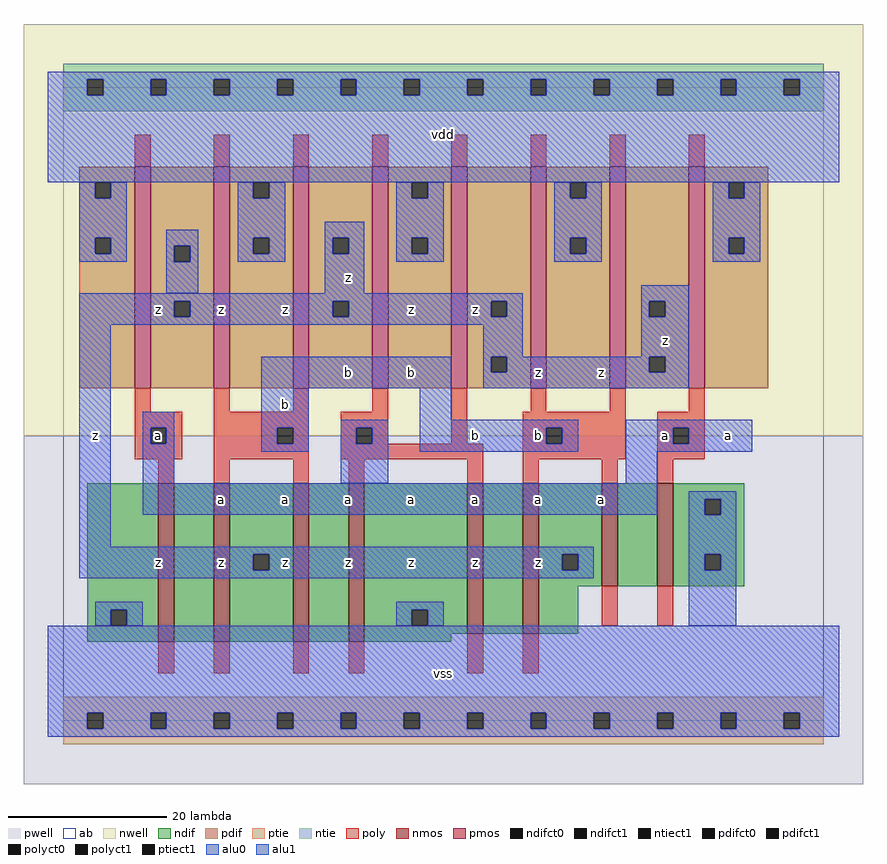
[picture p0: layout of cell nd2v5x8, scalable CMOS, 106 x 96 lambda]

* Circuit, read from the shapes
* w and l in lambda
.subckt nd2v5x8 a b vdd vss z
M1 n1 a vss vss nfet w=20 l=2
M2 z b n1 vss nfet w=20 l=2
M3 n2 b z vss nfet w=20 l=2
M4 vss a n2 vss nfet w=20 l=2
M5 n3 a vss vss nfet w=19 l=2
M6 z b n3 vss nfet w=19 l=2
M7 n4 b z vss nfet w=13 l=2
M8 vss a n4 vss nfet w=13 l=2
M9 z a vdd vdd pfet w=28 l=2 m=4
M10 vdd b z vdd pfet w=28 l=2 m=4
.ends

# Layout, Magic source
magic
tech scmos
<< ab >>
rect 0 0 96 80
<< nwell >>
rect -5 36 101 88
<< pwell >>
rect -5 -8 101 36
<< poly >>
rect 9 70 11 74
rect 19 70 21 74
rect 29 70 31 74
rect 39 70 41 74
rect 49 70 51 74
rect 59 70 61 74
rect 69 70 71 74
rect 79 70 81 74
rect 9 39 11 42
rect 19 39 21 42
rect 29 39 31 42
rect 39 39 41 42
rect 9 37 15 39
rect 9 35 11 37
rect 13 35 15 37
rect 9 33 15 35
rect 19 37 31 39
rect 19 35 27 37
rect 29 35 31 37
rect 19 33 31 35
rect 35 37 41 39
rect 35 35 37 37
rect 39 35 41 37
rect 49 35 51 42
rect 59 39 61 42
rect 69 39 71 42
rect 79 39 81 42
rect 58 37 71 39
rect 58 35 61 37
rect 63 35 71 37
rect 35 33 53 35
rect 12 30 14 33
rect 19 30 21 33
rect 29 30 31 33
rect 36 30 38 33
rect 51 30 53 33
rect 58 33 71 35
rect 75 37 81 39
rect 75 35 77 37
rect 79 35 81 37
rect 75 33 81 35
rect 58 30 60 33
rect 68 30 70 33
rect 75 30 77 33
rect 68 12 70 17
rect 75 12 77 17
rect 12 6 14 10
rect 19 6 21 10
rect 29 6 31 10
rect 36 6 38 10
rect 51 6 53 11
rect 58 6 60 11
<< ndif >>
rect 3 14 12 30
rect 3 12 6 14
rect 8 12 12 14
rect 3 10 12 12
rect 14 10 19 30
rect 21 21 29 30
rect 21 19 24 21
rect 26 19 29 21
rect 21 10 29 19
rect 31 10 36 30
rect 38 14 51 30
rect 38 12 44 14
rect 46 12 51 14
rect 38 11 51 12
rect 53 11 58 30
rect 60 21 68 30
rect 60 19 63 21
rect 65 19 68 21
rect 60 17 68 19
rect 70 17 75 30
rect 77 28 86 30
rect 77 26 81 28
rect 83 26 86 28
rect 77 21 86 26
rect 77 19 81 21
rect 83 19 86 21
rect 77 17 86 19
rect 60 11 65 17
rect 38 10 49 11
<< pdif >>
rect 2 68 9 70
rect 2 66 4 68
rect 6 66 9 68
rect 2 61 9 66
rect 2 59 4 61
rect 6 59 9 61
rect 2 42 9 59
rect 11 60 19 70
rect 11 58 14 60
rect 16 58 19 60
rect 11 53 19 58
rect 11 51 14 53
rect 16 51 19 53
rect 11 42 19 51
rect 21 68 29 70
rect 21 66 24 68
rect 26 66 29 68
rect 21 61 29 66
rect 21 59 24 61
rect 26 59 29 61
rect 21 42 29 59
rect 31 61 39 70
rect 31 59 34 61
rect 36 59 39 61
rect 31 53 39 59
rect 31 51 34 53
rect 36 51 39 53
rect 31 42 39 51
rect 41 68 49 70
rect 41 66 44 68
rect 46 66 49 68
rect 41 61 49 66
rect 41 59 44 61
rect 46 59 49 61
rect 41 42 49 59
rect 51 53 59 70
rect 51 51 54 53
rect 56 51 59 53
rect 51 46 59 51
rect 51 44 54 46
rect 56 44 59 46
rect 51 42 59 44
rect 61 68 69 70
rect 61 66 64 68
rect 66 66 69 68
rect 61 61 69 66
rect 61 59 64 61
rect 66 59 69 61
rect 61 42 69 59
rect 71 53 79 70
rect 71 51 74 53
rect 76 51 79 53
rect 71 46 79 51
rect 71 44 74 46
rect 76 44 79 46
rect 71 42 79 44
rect 81 68 89 70
rect 81 66 84 68
rect 86 66 89 68
rect 81 61 89 66
rect 81 59 84 61
rect 86 59 89 61
rect 81 42 89 59
<< alu1 >>
rect -2 81 98 82
rect -2 79 3 81
rect 5 79 11 81
rect 13 79 19 81
rect 21 79 27 81
rect 29 79 35 81
rect 37 79 43 81
rect 45 79 51 81
rect 53 79 59 81
rect 61 79 67 81
rect 69 79 75 81
rect 77 79 83 81
rect 85 79 91 81
rect 93 79 98 81
rect -2 68 98 79
rect 33 61 38 63
rect 33 59 34 61
rect 36 59 38 61
rect 33 54 38 59
rect 2 53 58 54
rect 2 51 14 53
rect 16 51 34 53
rect 36 51 54 53
rect 56 51 58 53
rect 2 50 58 51
rect 2 22 6 50
rect 53 46 58 50
rect 73 53 79 55
rect 73 51 74 53
rect 76 51 79 53
rect 73 46 79 51
rect 25 42 49 46
rect 53 44 54 46
rect 56 44 74 46
rect 76 44 79 46
rect 53 42 79 44
rect 10 37 14 39
rect 10 35 11 37
rect 13 35 14 37
rect 10 30 14 35
rect 25 37 31 42
rect 45 38 49 42
rect 25 35 27 37
rect 29 35 31 37
rect 25 34 31 35
rect 45 37 65 38
rect 45 35 61 37
rect 63 35 65 37
rect 45 34 65 35
rect 71 37 87 38
rect 71 35 77 37
rect 79 35 87 37
rect 71 34 87 35
rect 71 30 75 34
rect 10 26 75 30
rect 2 21 67 22
rect 2 19 24 21
rect 26 19 63 21
rect 65 19 67 21
rect 2 18 67 19
rect -2 1 98 12
rect -2 -1 3 1
rect 5 -1 11 1
rect 13 -1 19 1
rect 21 -1 27 1
rect 29 -1 35 1
rect 37 -1 43 1
rect 45 -1 51 1
rect 53 -1 59 1
rect 61 -1 67 1
rect 69 -1 75 1
rect 77 -1 83 1
rect 85 -1 91 1
rect 93 -1 98 1
rect -2 -2 98 -1
<< ptie >>
rect 0 1 96 3
rect 0 -1 3 1
rect 5 -1 11 1
rect 13 -1 19 1
rect 21 -1 27 1
rect 29 -1 35 1
rect 37 -1 43 1
rect 45 -1 51 1
rect 53 -1 59 1
rect 61 -1 67 1
rect 69 -1 75 1
rect 77 -1 83 1
rect 85 -1 91 1
rect 93 -1 96 1
rect 0 -3 96 -1
<< ntie >>
rect 0 81 96 83
rect 0 79 3 81
rect 5 79 11 81
rect 13 79 19 81
rect 21 79 27 81
rect 29 79 35 81
rect 37 79 43 81
rect 45 79 51 81
rect 53 79 59 81
rect 61 79 67 81
rect 69 79 75 81
rect 77 79 83 81
rect 85 79 91 81
rect 93 79 96 81
rect 0 77 96 79
<< nmos >>
rect 12 10 14 30
rect 19 10 21 30
rect 29 10 31 30
rect 36 10 38 30
rect 51 11 53 30
rect 58 11 60 30
rect 68 17 70 30
rect 75 17 77 30
<< pmos >>
rect 9 42 11 70
rect 19 42 21 70
rect 29 42 31 70
rect 39 42 41 70
rect 49 42 51 70
rect 59 42 61 70
rect 69 42 71 70
rect 79 42 81 70
<< polyct0 >>
rect 37 35 39 37
<< polyct1 >>
rect 11 35 13 37
rect 27 35 29 37
rect 61 35 63 37
rect 77 35 79 37
<< ndifct0 >>
rect 6 12 8 14
rect 44 12 46 14
rect 81 26 83 28
rect 81 19 83 21
<< ndifct1 >>
rect 24 19 26 21
rect 63 19 65 21
<< ntiect1 >>
rect 3 79 5 81
rect 11 79 13 81
rect 19 79 21 81
rect 27 79 29 81
rect 35 79 37 81
rect 43 79 45 81
rect 51 79 53 81
rect 59 79 61 81
rect 67 79 69 81
rect 75 79 77 81
rect 83 79 85 81
rect 91 79 93 81
<< ptiect1 >>
rect 3 -1 5 1
rect 11 -1 13 1
rect 19 -1 21 1
rect 27 -1 29 1
rect 35 -1 37 1
rect 43 -1 45 1
rect 51 -1 53 1
rect 59 -1 61 1
rect 67 -1 69 1
rect 75 -1 77 1
rect 83 -1 85 1
rect 91 -1 93 1
<< pdifct0 >>
rect 4 66 6 68
rect 4 59 6 61
rect 14 58 16 60
rect 24 66 26 68
rect 24 59 26 61
rect 44 66 46 68
rect 44 59 46 61
rect 64 66 66 68
rect 64 59 66 61
rect 84 66 86 68
rect 84 59 86 61
<< pdifct1 >>
rect 14 51 16 53
rect 34 59 36 61
rect 34 51 36 53
rect 54 51 56 53
rect 54 44 56 46
rect 74 51 76 53
rect 74 44 76 46
<< alu0 >>
rect 2 66 4 68
rect 6 66 8 68
rect 2 61 8 66
rect 22 66 24 68
rect 26 66 28 68
rect 2 59 4 61
rect 6 59 8 61
rect 2 58 8 59
rect 13 60 17 62
rect 13 58 14 60
rect 16 58 17 60
rect 22 61 28 66
rect 42 66 44 68
rect 46 66 48 68
rect 22 59 24 61
rect 26 59 28 61
rect 22 58 28 59
rect 13 54 17 58
rect 42 61 48 66
rect 42 59 44 61
rect 46 59 48 61
rect 42 58 48 59
rect 62 66 64 68
rect 66 66 68 68
rect 62 61 68 66
rect 62 59 64 61
rect 66 59 68 61
rect 62 58 68 59
rect 82 66 84 68
rect 86 66 88 68
rect 82 61 88 66
rect 82 59 84 61
rect 86 59 88 61
rect 82 58 88 59
rect 35 37 41 38
rect 35 35 37 37
rect 39 35 41 37
rect 35 30 41 35
rect 79 28 85 29
rect 79 26 81 28
rect 83 26 85 28
rect 79 21 85 26
rect 79 19 81 21
rect 83 19 85 21
rect 4 14 10 15
rect 4 12 6 14
rect 8 12 10 14
rect 42 14 48 15
rect 42 12 44 14
rect 46 12 48 14
rect 79 12 85 19
<< labels >>
rlabel alu1 12 20 12 20 6 z
rlabel polyct1 12 36 12 36 6 a
rlabel alu1 4 36 4 36 6 z
rlabel alu1 12 52 12 52 6 z
rlabel alu1 20 28 20 28 6 a
rlabel alu1 20 20 20 20 6 z
rlabel alu1 28 28 28 28 6 a
rlabel alu1 28 20 28 20 6 z
rlabel alu1 28 40 28 40 6 b
rlabel alu1 28 52 28 52 6 z
rlabel alu1 20 52 20 52 6 z
rlabel alu1 48 6 48 6 6 vss
rlabel alu1 36 28 36 28 6 a
rlabel alu1 36 20 36 20 6 z
rlabel alu1 52 28 52 28 6 a
rlabel alu1 52 20 52 20 6 z
rlabel alu1 44 28 44 28 6 a
rlabel alu1 44 20 44 20 6 z
rlabel alu1 36 44 36 44 6 b
rlabel alu1 52 36 52 36 6 b
rlabel alu1 44 44 44 44 6 b
rlabel alu1 52 52 52 52 6 z
rlabel alu1 44 52 44 52 6 z
rlabel alu1 36 56 36 56 6 z
rlabel alu1 48 74 48 74 6 vdd
rlabel alu1 60 28 60 28 6 a
rlabel alu1 60 20 60 20 6 z
rlabel alu1 68 28 68 28 6 a
rlabel alu1 60 44 60 44 6 z
rlabel alu1 60 36 60 36 6 b
rlabel alu1 76 36 76 36 6 a
rlabel alu1 68 44 68 44 6 z
rlabel alu1 76 48 76 48 6 z
rlabel alu1 84 36 84 36 6 a
<< end >>
